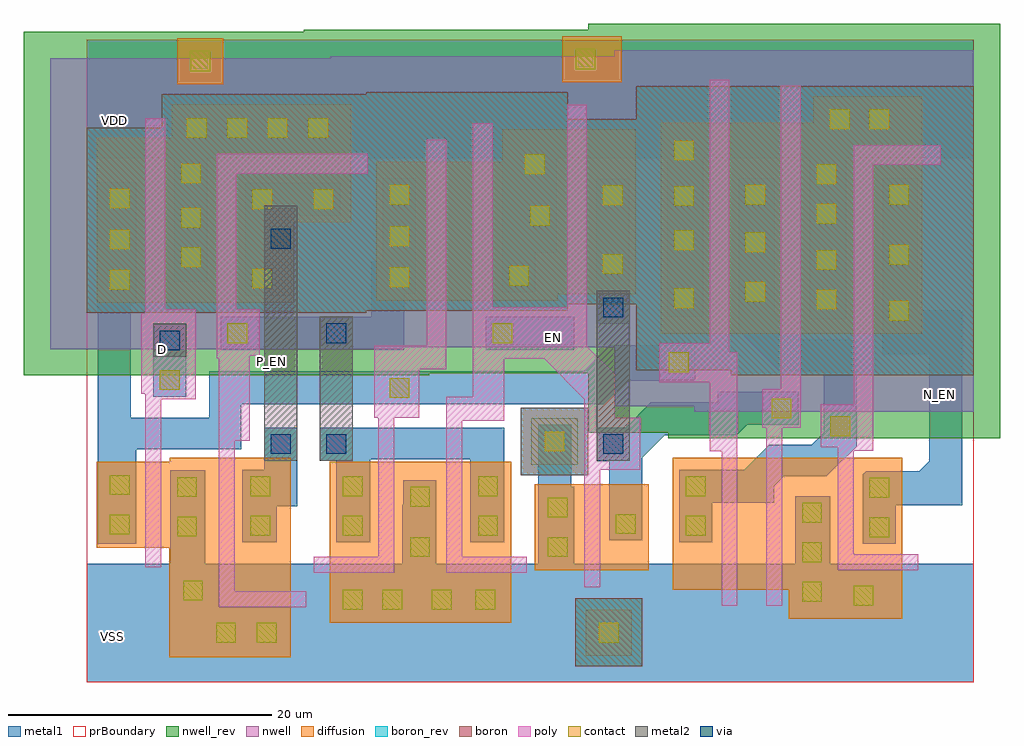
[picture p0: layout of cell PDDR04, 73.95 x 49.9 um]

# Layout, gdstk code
import gdstk
lib = gdstk.Library(unit=1e-6, precision=1e-09)
def R(c, l, rs):  # rectangles x0, y0, x1, y1
    for r in rs: c.add(gdstk.rectangle(r[:2], r[2:], *l))
def A(c, l, x, y, w, h, nx, ny, dx, dy):  # array of equal rectangles
    R(c, l, [(x+i*dx, y+j*dy, x+i*dx+w, y+j*dy+h) for i in range(nx) for j in range(ny)])
def P(c, l, *ps):  # polygons
    for p in ps: c.add(gdstk.Polygon(p, *l))
nwell = (1, 0)
diffusion = (2, 0)
nwell_rev = (3, 0)
poly = (4, 0)
boron = (5, 0)
boron_rev = (6, 0)
contact = (7, 0)
metal1 = (8, 0)
via = (9, 0)
metal2 = (10, 0)
prBoundary = (28, 0)

pddr04 = lib.new_cell('PDDR04')
P(pddr04, nwell, [(46.05,20.5),(46.05,20.9),(40,20.9),(40,25.4),(23.95,25.4),(23.95,25.25),(-2.75,25.25),(-2.75,47.3),(18.45,47.3),(18.45,47.45),(40,47.45),(40,47.9),(67.2,47.9),(67.2,20.5)])
R(pddr04, diffusion, [(37.8,2,41.3,5.5), (18.4,4.5,32.15,16.7), (33.95,8.5,42.6,15), (33.7,16.5,37.2,20), (6.85,45.3,10.35,48.8), (36.05,45.45,40.55,48.95)])
P(pddr04, diffusion, [(53.2,4.8),(53.2,7),(44.4,7),(44.4,17),(61.8,17),(61.8,4.8)],
  [(6.25,1.9),(6.25,10.2),(0.75,10.2),(0.75,16.7),(6.3,16.7),(6.3,17),(15.45,17),(15.45,1.9)],
  [(0.75,28.75),(0.75,41.25),(6.45,41.25),(6.45,43.8),(20.05,43.8),(20.05,34.85),(15.7,34.85),(15.7,28.75)],
  [(21.95,28.9),(21.95,39.45),(31.5,39.45),(31.5,41.9),(41.6,41.9),(41.6,29.4),(35.7,29.4),(35.7,28.9)],
  [(43.5,26.4),(43.5,42.4),(55.05,42.4),(55.05,44.4),(63.3,44.4),(63.3,26.4)])
P(pddr04, nwell_rev, [(44.05,18.5),(44.05,18.9),(38,18.9),(38,23.4),(25.95,23.4),(25.95,23.25),(-4.75,23.25),(-4.75,49.3),(16.45,49.3),(16.45,49.45),(38,49.45),(38,49.9),(69.2,49.9),(69.2,18.5)])
P(pddr04, poly, [(51.5,5.8),(51.5,19.3),(51.2,19.3),(51.2,22.2),(52.6,22.2),(52.6,45.2),(54.1,45.2),(54.1,19.3),(52.7,19.3),(52.7,5.8)],
  [(4.45,8.7),(4.45,21.85),(4.15,21.85),(4.15,27.95),(4.45,27.95),(4.45,42.75),(5.95,42.75),(5.95,28.25),(8.25,28.25),(8.25,21.45),(5.65,21.45),(5.65,8.7)],
  [(10,5.7),(10,24.55),(9.85,24.55),(9.85,40.05),(21.3,40.05),(21.3,38.55),(11.35,38.55),(11.35,28.25),(13.1,28.25),(13.1,24.75),(12.35,24.75),(12.35,18.3),(11.2,18.3),(11.2,6.9),(16.65,6.9),(16.65,5.7)],
  [(17.2,8.3),(17.2,9.5),(22.1,9.5),(22.1,20.05),(21.8,20.05),(21.8,25.5),(25.75,25.5),(25.75,41.1),(27.25,41.1),(27.25,23.7),(25.2,23.7),(25.2,20.05),(23.3,20.05),(23.3,8.3)],
  [(37.7,7.2),(37.7,21.451),(34.651,24.5),(31.65,24.5),(31.65,19.8),(28.45,19.8),(28.45,9.5),(33.35,9.5),(33.35,8.3),(27.25,8.3),(27.25,21.65),(29.25,21.65),(29.25,42.35),(30.75,42.35),(30.75,28.4),(36.4,28.4),(36.4,43.75),(37.9,43.75),(37.9,25.45),(40,23.35),(40,20.05),(41.95,20.05),(41.95,16.1),(38.9,16.1),(38.9,7.2)],
  [(48.1,5.8),(48.1,17.5),(47.2,17.5),(47.2,22.75),(43.4,22.75),(43.4,25.7),(47.2,25.7),(47.2,45.65),(48.7,45.65),(48.7,25),(49.3,25),(49.3,5.8)],
  [(56.9,8.5),(56.9,17.8),(55.6,17.8),(55.6,21.05),(58.1,21.05),(58.1,40.7),(64.7,40.7),(64.7,39.2),(59.6,39.2),(59.6,17.55),(58.1,17.55),(58.1,9.7),(63,9.7),(63,8.5)])
R(pddr04, boron, [(37,1.2,42.1,6.35), (32.9,15.7,38,20.8)])
P(pddr04, boron, [(48.8,23.25),(48.8,23.65),(41.65,23.65),(41.65,28.65),(36.45,28.65),(36.45,28.15),(21.2,28.15),(21.2,28),(0,28),(0,42),(5.7,42),(5.7,44.55),(21.2,44.55),(21.2,44.7),(36.45,44.7),(36.45,42.65),(41.65,42.65),(41.65,45.15),(67.2,45.15),(67.2,23.25)])
R(pddr04, boron_rev, [(37,1.2,42.1,6.35), (32.9,15.7,38,20.8)])
P(pddr04, boron_rev, [(48.8,23.25),(48.8,23.65),(41.65,23.65),(41.65,28.65),(36.45,28.65),(36.45,28.15),(21.2,28.15),(21.2,28),(0,28),(0,42),(5.7,42),(5.7,44.55),(21.2,44.55),(21.2,44.7),(36.45,44.7),(36.45,42.65),(41.65,42.65),(41.65,45.15),(67.2,45.15),(67.2,23.25)])
A(pddr04, contact, 54.2, 6.1, 1.5, 1.5, 1, 3, 0, 3)
A(pddr04, contact, 7.6, 41.25, 1.5, 1.5, 3, 1, 3.05, 0)
R(pddr04, contact, [(9.8,3,11.3,4.5), (12.9,3,14.4,4.5), (38.8,3,40.3,4.5), (19.4,5.5,20.9,7), (22.4,5.5,23.9,7), (26.15,5.5,27.65,7), (29.45,5.5,30.95,7), (58.1,5.8,59.6,7.3), (7.3,6.2,8.8,7.7), (24.5,9.5,26,11), (34.95,9.5,36.45,11), (59.3,11,60.8,12.5), (6.85,11.05,8.35,12.55), (12.4,11.1,13.9,12.6), (19.4,11.1,20.9,12.6), (29.65,11.1,31.15,12.6), (45.4,11.1,46.9,12.6), (1.75,11.2,3.25,12.7), (40.1,11.25,41.6,12.75), (34.95,12.5,36.45,14), (24.5,13.3,26,14.8), (59.3,14,60.8,15.5), (6.85,14.05,8.35,15.55), (12.4,14.1,13.9,15.6), (19.4,14.1,20.9,15.6), (29.65,14.1,31.15,15.6), (45.4,14.1,46.9,15.6), (1.75,14.2,3.25,15.7), (34.7,17.5,36.2,19), (56.35,18.65,57.85,20.15), (51.9,20,53.4,21.5), (22.95,21.55,24.45,23.05), (5.55,22.15,7.05,23.65), (44.1,23.5,45.6,25), (10.65,25.7,12.15,27.2), (30.75,25.7,32.25,27.2), (60.8,27.4,62.3,28.9), (55.3,28.25,56.8,29.75), (44.5,28.35,46,29.85), (49.9,28.85,51.4,30.35), (1.75,29.75,3.25,31.25), (12.55,29.85,14.05,31.35), (22.95,29.95,24.45,31.45), (32,30.05,33.5,31.55), (39.1,30.95,40.6,32.45), (55.3,31.25,56.8,32.75), (7.15,31.45,8.65,32.95), (60.8,31.65,62.3,33.15), (49.9,32.6,51.4,34.1), (44.5,32.75,46,34.25), (1.75,32.8,3.25,34.3), (22.95,33.05,24.45,34.55), (7.15,34.45,8.65,35.95), (33.6,34.6,35.1,36.1), (55.3,34.75,56.8,36.25), (12.55,35.85,14.05,37.35), (17.2,35.85,18.7,37.35), (1.75,35.9,3.25,37.4), (44.5,36.1,46,37.6), (39.1,36.15,40.6,37.65), (22.95,36.2,24.45,37.7), (49.9,36.2,51.4,37.7), (60.8,36.2,62.3,37.7), (55.3,37.75,56.8,39.25), (7.15,37.8,8.65,39.3), (33.2,38.5,34.7,40), (44.5,39.55,46,41.05), (16.8,41.25,18.3,42.75), (56.3,41.9,57.8,43.4), (59.3,41.9,60.8,43.4), (7.85,46.3,9.35,47.8), (37.05,46.45,38.55,47.95)])
R(pddr04, metal1, [(0,0,67.2,9), (63.85,21,66.35,23.5), (5.05,21.65,7.55,27.15), (30.25,25.2,36.95,27.7), (0,39.7,67.2,48.7)])
P(pddr04, metal1, [(0,0),(0,9),(6.35,9),(6.35,16.05),(9,16.05),(9,9),(23.9,9),(23.9,13.45),(24,13.45),(24,15.3),(26.5,15.3),(26.5,9),(34.2,9),(34.2,19.5),(36.7,19.5),(36.7,14.8),(36.95,14.8),(36.95,9),(53.7,9),(53.7,14.1),(56.35,14.1),(56.35,9),(67.2,9),(67.2,0)],
  [(11.8,10.6),(11.8,16.1),(13.45,16.1),(13.45,19.3),(15.95,19.3),(15.95,13.35),(14.4,13.35),(14.4,10.6)],
  [(12,29.3),(12,37.85),(19.2,37.85),(19.2,35.35),(15.95,35.35),(15.95,32.35),(15.55,32.35),(15.55,29.3)],
  [(10.15,25.2),(10.15,27.7),(21.55,27.7),(21.55,31.9),(22.45,31.9),(22.45,38.2),(24.95,38.2),(24.95,29.45),(24.05,29.45),(24.05,25.2)],
  [(18.9,10.6),(18.9,16.8),(17.65,16.8),(17.65,19.3),(31.65,19.3),(31.65,10.6),(29.05,10.6),(29.05,16.9),(21.5,16.9),(21.5,10.6)],
  [(38.65,27.15),(38.65,29.9),(38.6,29.9),(38.6,38.15),(41.1,38.15),(41.1,30),(41.15,30),(41.15,27.15)],
  [(0.85,10.5),(0.85,37.9),(3.75,37.9),(3.75,28.7),(3.35,28.7),(3.35,20.05),(9.3,20.05),(9.3,23.55),(37.649,23.55),(39.649,25.55),(46.1,25.55),(46.1,22.85),(40.95,22.85),(39.15,21.05),(11.7,21.05),(11.7,17.65),(3.75,17.65),(3.75,10.5)],
  [(39.6,10.75),(39.6,16.75),(38.65,16.75),(38.65,19.3),(40.85,19.3),(42.75,21.2),(47.65,21.2),(47.8,21.35),(47.8,22),(53.95,22),(53.95,19.5),(50.05,19.5),(49.25,18.7),(43.786,18.7),(42.1,17.014),(42.1,10.75)],
  [(44.9,10.6),(44.9,16.1),(49.85,16.1),(49.85,16.15),(51.7,18),(54.95,18),(55.85,18.9),(55.85,23.55),(52.6,23.55),(49.4,26.75),(49.4,38.2),(52.15,38.2),(52.15,27.951),(54.151,25.95),(58.35,25.95),(58.35,17.9),(56.05,15.6),(52.8,15.6),(52.1,14.9),(52.1,13.6),(47.4,13.6),(47.4,10.6)],
  [(58.8,10.5),(58.8,15.745),(59.055,16),(63.1,16),(63.85,16.75),(63.85,24.85),(60.3,24.85),(60.3,38.2),(62.95,38.2),(62.95,28.2),(66.35,28.2),(66.35,13.4),(61.3,13.4),(61.3,10.5)],
  [(54.8,27.5),(54.8,39.7),(46.7,39.7),(46.7,27.7),(44,27.7),(44,39.7),(35.6,39.7),(35.6,32.55),(34,32.55),(34,29.55),(31.5,29.55),(31.5,39.7),(9.15,39.7),(9.15,30.35),(6.65,30.35),(6.65,39.7),(0,39.7),(0,48.7),(67.2,48.7),(67.2,39.7),(57.55,39.7),(57.55,27.5)])
R(pddr04, via, [(13.95,17.3,15.45,18.8), (18.15,17.3,19.65,18.8), (39.15,17.3,40.65,18.8), (5.55,25.15,7.05,26.65), (18.15,25.7,19.65,27.2), (39.15,27.65,40.65,29.15), (13.95,32.85,15.45,34.35)])
R(pddr04, metal2, [(13.45,16.8,15.95,36.1), (17.65,16.8,20.15,27.7), (38.65,16.8,41.15,29.65), (5.05,24.65,7.55,27.15)])
R(pddr04, prBoundary, [(0,0,67.2,48.7)])
pddr04.add(gdstk.Label('VDD', (2.129,42.588), layer=8, texttype=7))
pddr04.add(gdstk.Label('VSS', (1.923,3.435), layer=8, texttype=7))
pddr04.add(gdstk.Label('D', (5.754,25.225), layer=8, texttype=7))
pddr04.add(gdstk.Label('N_EN', (64.641,21.805), layer=8, texttype=7))
pddr04.add(gdstk.Label('EN', (35.366,26.138), layer=8, texttype=7))
pddr04.add(gdstk.Label('P_EN', (14.035,24.325), layer=10, texttype=7))

lib.write_gds('PDDR04.gds')
